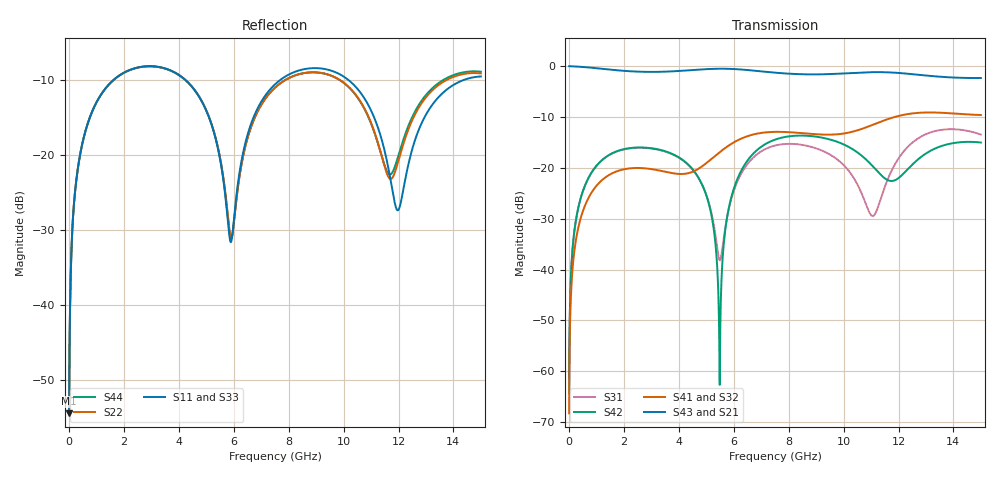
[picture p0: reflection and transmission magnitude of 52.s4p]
! Created with skrf 1.8.0 (http://scikit-rf.org).
# GHz S RI R 50.0
!freq ReS11 ImS11 ReS12 ImS12 ReS13 ImS13
! ReS14 ImS14
! ReS21 ImS21 ReS22 ImS22 ReS23 ImS23
! ReS24 ImS24
! ReS31 ImS31 ReS32 ImS32 ReS33 ImS33
! ReS34 ImS34
! ReS41 ImS41 ReS42 ImS42 ReS43 ImS43
! ReS44 ImS44
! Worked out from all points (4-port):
!   2499 points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, 5 MHz to 15 GHz, reference 50 ohm
!   strongest paths, dB at 5 MHz, 3.476 GHz, 7.19 GHz, 11.1 GHz, 15 GHz:
!     S43: 0.0, -1.1, -1.1, -1.2, -2.3
!     S21: 0.0, -1.1, -1.1, -1.2, -2.3
!     S41: -68.3, -20.7, -13.0, -11.5, -9.6
!     S32: -68.3, -20.7, -13.0, -11.5, -9.6
!     S42: -64.3, -16.7, -15.2, -19.9, -15.0
!     S31: -64.3, -16.8, -16.2, -29.4, -13.5
!   lowest |S11| = -54.4 dB at 5 MHz (marker M1), VSWR 1.00, Z = 50.2 + j0.116 ohm
!   |S11| at or under -10 dB: start of sweep to 1.606 GHz; 4.257 GHz to 7.674 GHz (3.417 GHz wide, 57.3 % of centre); 10.19 GHz to 14.34 GHz (4.146 GHz wide, 33.8 % of centre)
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0.005  0.00152 0.00116  0.9985 -0.00296  7.61e-05 0.000605  -7.39e-05 -0.000379
       0.9985 -0.00296  0.00152 0.00116  -7.39e-05 -0.000379  7.61e-05 0.000605
       7.61e-05 0.000605  -7.39e-05 -0.000379  0.00152 0.00116  0.9985 -0.00296
       -7.39e-05 -0.000379  7.61e-05 0.000605  0.9985 -0.00296  0.00152 0.00116
0.3126303  0.0212 0.0765  0.9712 -0.1847  0.00956 0.0362  -0.00802 -0.0225
           0.9712 -0.1847  0.0212 0.0765  -0.00802 -0.0225  0.00969 0.0362
           0.00956 0.0362  -0.00802 -0.0225  0.0212 0.0765  0.9712 -0.1847
           -0.00802 -0.0225  0.00969 0.0362  0.9712 -0.1847  0.0212 0.0765
1.569404  0.2509 0.185  0.5906 -0.7046  0.1204 0.0681  -0.0873 -0.0129
          0.5906 -0.7046  0.2503 0.1855  -0.0873 -0.0129  0.122 0.0662
          0.1204 0.0681  -0.0873 -0.0129  0.2509 0.185  0.5906 -0.7046
          -0.0873 -0.0129  0.122 0.0662  0.5906 -0.7046  0.2503 0.1855
5.489787  0.0441 -0.0863  -0.8994 -0.2809  -0.0121 -0.00219  -0.0383 0.1374
          -0.8994 -0.2809  0.0468 -0.0874  -0.038 0.1375  0.000701 0.000226
          -0.0121 -0.00219  -0.038 0.1375  0.0441 -0.0855  -0.8996 -0.2806
          -0.0383 0.1374  0.000701 0.000226  -0.8996 -0.2806  0.0463 -0.0867
7.071697  0.172 0.1657  -0.7437 0.478  0.1112 0.0992  0.1526 0.1607
          -0.7437 0.478  0.1624 0.1589  0.1529 0.1604  0.149 0.0732
          0.1112 0.0992  0.1529 0.1604  0.1729 0.1659  -0.7436 0.4779
          0.1526 0.1607  0.149 0.0732  -0.7436 0.4779  0.1622 0.16
11.62985  0.0483 -0.0668  0.8368 0.2313  0.0474 0.0641  0.0753 -0.2928
          0.8368 0.2313  0.0705 -0.0144  0.0756 -0.2933  -0.0739 0.0143
          0.0474 0.0641  0.0756 -0.2933  0.042 -0.0643  0.8369 0.2311
          0.0753 -0.2928  -0.0739 0.0143  0.8369 0.2311  0.075 -0.0092
15  0.3355 -0.000985  0.1111 -0.7591  0.1687 -0.1288  -0.3299 0.0209
    0.1111 -0.7591  0.3504 -0.0297  -0.3321 0.0235  0.1396 -0.1094
    0.1687 -0.1288  -0.3321 0.0235  0.3409 0.0116  0.1136 -0.7557
    -0.3299 0.0209  0.1396 -0.1094  0.1136 -0.7557  0.3591 -0.038
